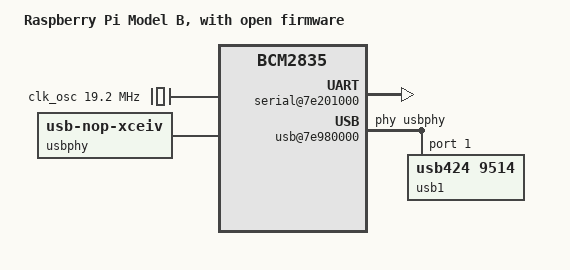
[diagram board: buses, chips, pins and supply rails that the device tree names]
/dts-v1/;

#define BCM2835_FSEL_ALT0 4

/memreserve/ 0x00000000 0x00001000;

/ {
  compatible = "raspberrypi,model-b", "brcm,bcm2835";
  model = "Raspberry Pi Model B, with open firmware";
  #address-cells = <0x01>;
  #size-cells = <0x01>;
  interrupt-parent = <&intc>;

  aliases {
    ethernet0 = &ethernet;
  };

  chosen {
  };
  system {
  };
  memory {
    device_type = "memory";
  };
  soc {
    compatible = "simple-bus";
    #address-cells = <1>;
    #size-cells = <1>;
    //        child       parent       length
    ranges = <0x7e000000 0x3f000000 0x1000000>; /* map the MMIO space to 0x3f000000 in arm, 16mb long */
    dma-ranges = <0xc0000000 0x00 0x3f000000>; /* map arm physical 0 to the uncached alias, 1008mb long */

    system_timer: timer@7e003000 {
      compatible = "brcm,bcm2835-system-timer";
      reg = <0x7e003000 0x1000>;
      interrupts = <1 0>, <1 1>, <1 2>, <1 3>;
      /* This could be a reference to BCM2835_CLOCK_TIMER,
       * but we don't have the driver using the common clock
       * support yet.
       */
      clock-frequency = <1000000>;
    };
    intc: interrupt-controller@7e00b200 {
      compatible = "brcm,bcm2835-armctrl-ic";
      reg = <0x7e00b200 0x200>;
      interrupt-controller;
      #interrupt-cells = <0x02>;
    };
    clocks: cprman@7e101000 {
      compatible = "brcm,bcm2835-cprman";
      #clock-cells = <1>;
      reg = <0x7e101000 0x2000>;

      /* CPRMAN derives almost everything from the
       * platform's oscillator.  However, the DSI
       * pixel clocks come from the DSI analog PHY.
       */
      clocks = <&clk_osc>;
              //<&dsi0 0>, <&dsi0 1>, <&dsi0 2>,
              //<&dsi1 0>, <&dsi1 1>, <&dsi1 2>;
    };
    gpiomem@7e200000 {
      compatible = "brcm,bcm2835-gpiomem";
      reg = <0x7e200000 0x1000>;
    };
    gpio@7e200000 {
      compatible = "brcm,bcm2835-gpio";
      reg = <0x7e200000 0xb4>;
      interrupts = <&intc 0x11>,
                   <&intc 0x12>;
      gpio-controller;
      #gpio-cells = <0x02>;
      interrupt-controller;
      #interrupt-cells = <0x02>;
      gpio-line-names = "ID_SDA", // based on arch/arm/boot/dts/bcm2835-rpi-b-plus.dts
                        "ID_SCL";
      pinctrl-names = "default";
      gpclk0_gpio4 {
        brcm,pins = <0x04>;
        brcm,function = <0x04>;
      };
      gpclk1_gpio5 {
        brcm,pins = <0x05>;
        brcm,function = <BCM2835_FSEL_ALT0>;
      };

      i2c0_bus0: i2c0_gpio0 {
        brcm,pins = <0 1>;
        brcm,function = <0x04>;
      };
      i2c0_bus28: i2c0_gpio28 {
        // do not use
        // changing altmode of 29 breaks usb
        brcm,pins = <28 29>;
        brcm,function = <0x04>;
      };
      i2c0_cam: i2c0_gpio44 {
        brcm,pins = <44 45>;
        brcm,function = <0x05>;
      };
      i2c0_smps: i2c0_smps {
        brcm,pins = <46 47>;
        brcm,function = <0x04>;
      };

      i2c1_bus2: i2c1_gpio2 {
        brcm,pins = <2 3>;
        brcm,function = <0x04>;
      };
      i2c1_cam: i2c1_gpio44 {
        brcm,pins = <44 45>;
        brcm,function = <0x06>;
      };
      i2c1_smps: i2c1_smps {
        brcm,pins = <46 47>;
        brcm,function = <0x05>;
      };

      sdhost: sdhost_gpio48 {
        brcm,pins = <0x30 0x31 0x32 0x33 0x34 0x35>;
        brcm,function = <0x04>;
      };
      emmc: emmc_gpio48 {
        brcm,pins = <0x30 0x31 0x32 0x33 0x34 0x35>;
        brcm,function = <0x07>;
      };
    };
    serial@7e201000 {
      compatible = "brcm,bcm2835-pl011", "arm,pl011", "arm,primecell";
      reg = <0x7e201000 0x200>;
      interrupts = <2 25>;
      clocks = <&clocks 19>, // BCM2835_CLOCK_UART
               <&clocks 20>; // BCM2835_CLOCK_VPU
      clock-names = "uartclk", "apb_pclk";
      arm,primecell-periphid = <0x241011>;
      cts-event-workaround;
      //pinctrl-names = "default";
      //pinctrl-0 = <0x08 0x09>;
      status = "okay";
    };
    usb@7e980000 {
      compatible = "brcm,bcm2708-usb";
      reg = <0x7e980000 0x10000 0x7e006000 0x1000>;
      interrupts = <0x01 0x09 0x02 0x00>;
      #address-cells = <0x01>;
      #size-cells = <0x00>;
      clocks = <&clk_usb>;
      clock-names = "otg";
      phys = <&usbphy>;
      phy-names = "usb2-phy";
      interrupt-names = "usb", "soft";
      //power-domains = <&power 0x06>;

      usb1@1 {
        compatible = "usb424,9514";
        reg = <0x01>;
        #address-cells = <0x01>;
        #size-cells = <0x00>;

        ethernet: usbether@1 {
          compatible = "usb424,ec00";
          reg = <0x01>;
          local-mac-address = [ b8 27 eb 77 df 95 ];
        };
      };
    };
  };
  clocks {
    compatible = "simple-bus";
    #address-cells = <0x01>;
    #size-cells = <0x00>;

    clk_osc: clock@3 {
      compatible = "fixed-clock";
      reg = <0x03>;
      #clock-cells = <0x00>;
      clock-output-names = "osc";
      clock-frequency = <19200000>; // 19.2mhz
    };

    clk_usb: clock@4 {
      compatible = "fixed-clock";
      reg = <0x04>;
      #clock-cells = <0x00>;
      clock-output-names = "otg";
      clock-frequency = <0x1c9c3800>; // 480mhz
    };
  };
  usbphy: phy {
    compatible = "usb-nop-xceiv";
    #phy-cells = <0x00>;
  };
};
